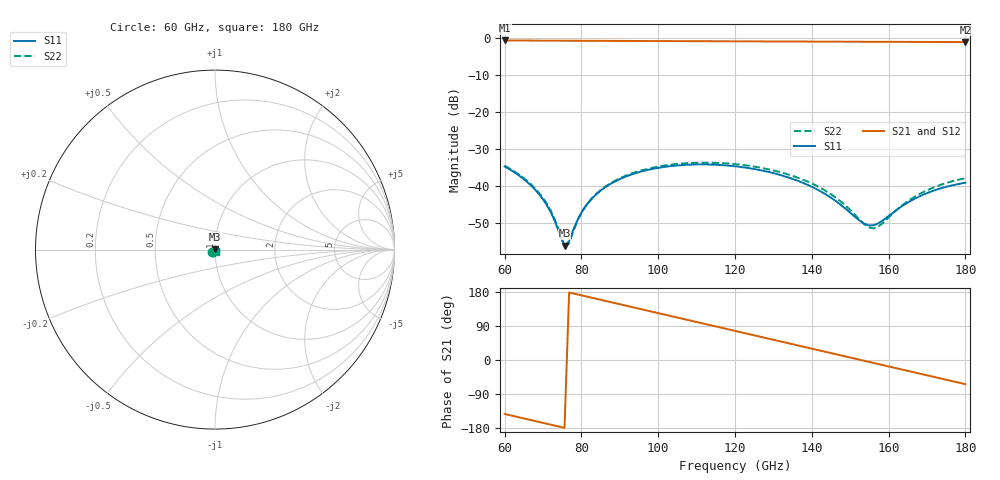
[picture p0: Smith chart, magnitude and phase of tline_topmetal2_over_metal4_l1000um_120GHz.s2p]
#  GHZ S DB R 50
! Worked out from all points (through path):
!   101 points, 60 GHz to 180 GHz, reference 50 ohm
!   highest |S21| = -0.73 dB at 60 GHz (marker M1); lowest = -1.2 dB at 180 GHz (marker M2)
!   group delay of S21, straight-line fit = 6.51 ps
!   lowest |S11| = -56.1 dB at 75.6 GHz (marker M3), VSWR 1.00, Z = 50 + j0.149 ohm
!   |S11| at or under -10 dB: start of sweep to end of sweep
!   |S22| runs from -56.3 to -33.7 dB; largest |S21 - S12| = 1e-13
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60  -34.74 -138.7  -0.73 -142.4  -0.73 -142.4  -34.53 -138.7
66  -39.04 -157.1  -0.76 -156.5  -0.76 -156.5  -38.76 -156.9
69.6  -43.05 -171.0  -0.78 -165.0  -0.78 -165.0  -42.69 -170.4
72  -47.05 175.2  -0.79 -170.6  -0.79 -170.6  -46.62 176.7
75.6  -56.14 107.0  -0.80 -179.0  -0.80 -179.0  -56.26 113.1
76.8  -54.91 61.4  -0.81 178.1  -0.81 178.1  -55.51 63.6
79.2  -48.73 21.5  -0.82 172.5  -0.82 172.5  -48.91 20.6
80.4  -46.52 12.6  -0.82 169.7  -0.82 169.7  -46.58 11.6
84  -42.12 -4.4  -0.84 161.3  -0.84 161.3  -42.01 -5.3
87.6  -39.44 -16.8  -0.85 152.8  -0.85 152.8  -39.25 -17.6
93.6  -36.73 -34.8  -0.87 138.7  -0.87 138.7  -36.45 -35.4
100.8  -34.99 -55.1  -0.90 121.9  -0.90 121.9  -34.63 -55.5
110.4  -34.20 -81.6  -0.93 99.3  -0.93 99.3  -33.73 -81.8
120  -34.70 -108.5  -0.97 76.8  -0.97 76.8  -34.10 -108.3
129.6  -36.45 -136.6  -1.00 54.3  -1.00 54.3  -35.72 -135.7
140.4  -40.44 -172.6  -1.04 29.0  -1.04 29.0  -39.55 -169.9
146.4  -44.20 160.8  -1.06 14.9  -1.06 14.9  -43.27 165.8
154.8  -50.64 82.6  -1.09 -4.8  -1.09 -4.8  -51.17 91.2
157.2  -50.17 49.5  -1.09 -10.4  -1.09 -10.4  -51.06 52.0
160.8  -47.49 13.0  -1.11 -18.8  -1.11 -18.8  -47.72 10.4
169.2  -42.29 -32.1  -1.13 -38.5  -1.13 -38.5  -41.57 -34.3
180  -39.14 -70.4  -1.17 -63.8  -1.17 -63.8  -37.91 -70.7
